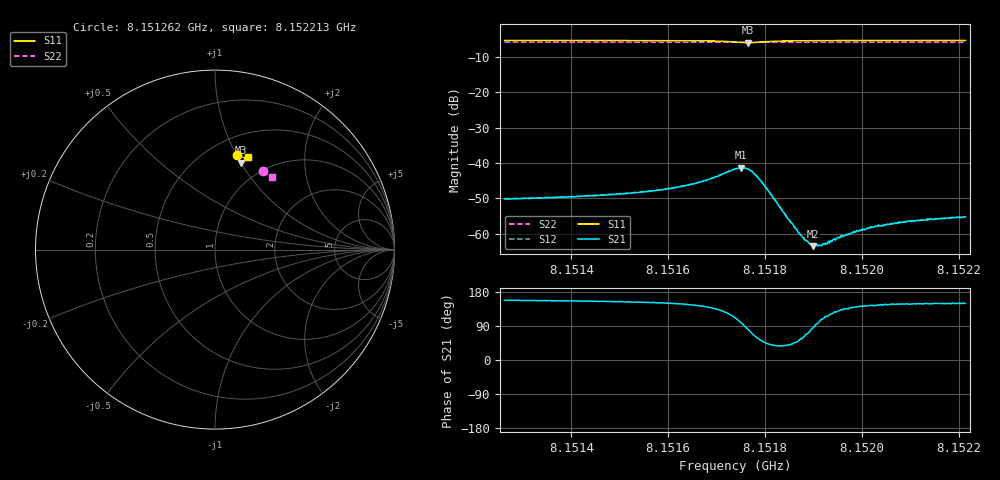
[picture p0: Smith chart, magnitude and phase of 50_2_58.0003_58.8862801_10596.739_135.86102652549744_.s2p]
#  HZ  S  RI  R  50.00
! Rohde & Schwarz Vector Network Analyzer
! Rohde-Schwarz,ZNB20-2Port,1311601062101988,3.16
! Created: UTC 3/21/2024, 12:52:27 AM
! freq[Hz]  re:S11  im:S11  re:S21  im:S21  re:S12  im:S12  re:S22  im:S22
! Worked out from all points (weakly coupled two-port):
!   401 points, 8.151262 GHz to 8.152213 GHz, reference 50 ohm
!   highest |S21| = -41.33 dB at 8.15175 GHz (marker M1); lowest = -63.5 dB at 8.151899 GHz (marker M2)
!   lowest |S11| = -5.9 dB at 8.151764 GHz (marker M3), VSWR 3.04, Z = 38.6 + j50.2 ohm
!   |S11| at or under -10 dB: nowhere
!   |S22| runs from -5.8 to -5.8 dB; largest |S21 - S12| = 0.00018
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8.1512624e9  0.124 0.5292  -0.00287 0.00118  -0.00286 0.00126  0.268 0.4387
8.1514217e9  0.1362 0.5262  -0.00307 0.00142  -0.00307 0.00145  0.2767 0.4329
8.1515809e9  0.1504 0.5215  -0.00362 0.00201  -0.00361 0.00206  0.2853 0.427
8.1516641e9  0.1603 0.5151  -0.00427 0.00319  -0.00424 0.00327  0.2897 0.4238
8.1517378e9  0.164 0.4911  -0.00308 0.00765  -0.00295 0.00771  0.2931 0.4202
8.1517497e9  0.1576 0.4854  -0.00138 0.00846  -0.00126 0.00853  0.2934 0.4197
8.151764e9  0.1456 0.4839  0.00124 0.00816  0.00131 0.00821  0.2936 0.4193
8.1517758e9  0.1369 0.4893  0.00288 0.00664  0.00296 0.00665  0.2941 0.4192
8.1517901e9  0.1329 0.4988  0.00345 0.00449  0.00356 0.00452  0.2948 0.4191
8.1518472e9  0.1437 0.5168  0.00125 0.00104  0.0013 0.00103  0.2983 0.4176
8.1518757e9  0.1491 0.5186  0.000514 0.000755  0.000518 0.000766  0.2998 0.4163
8.1518852e9  0.1507 0.5189  0.000305 0.000751  0.000305 0.000746  0.3004 0.416
8.1518971e9  0.1525 0.519  8.13e-05 0.000697  0.000102 0.0007  0.3011 0.4155
8.1518995e9  0.1528 0.5189  4.64e-05 0.000668  8.67e-05 0.000714  0.3013 0.4154
8.151909e9  0.154 0.519  -8.37e-05 0.000666  -9.6e-05 0.000658  0.3017 0.4151
8.1519185e9  0.1553 0.5189  -0.00022 0.000661  -0.000199 0.000681  0.3024 0.4147
8.1519613e9  0.1602 0.5186  -0.000644 0.000668  -0.000649 0.000691  0.3045 0.413
8.151985e9  0.1626 0.5182  -0.000796 0.000672  -0.0008 0.00072  0.3057 0.4122
8.1520326e9  0.167 0.5173  -0.00105 0.000731  -0.00106 0.000743  0.3082 0.4101
8.1520564e9  0.1691 0.5168  -0.00113 0.000749  -0.00113 0.000726  0.3093 0.4091
8.1521348e9  0.1755 0.5152  -0.00133 0.000786  -0.00138 0.000854  0.3135 0.4062
8.1522132e9  0.1814 0.5135  -0.00149 0.000886  -0.00149 0.00089  0.3174 0.4029
